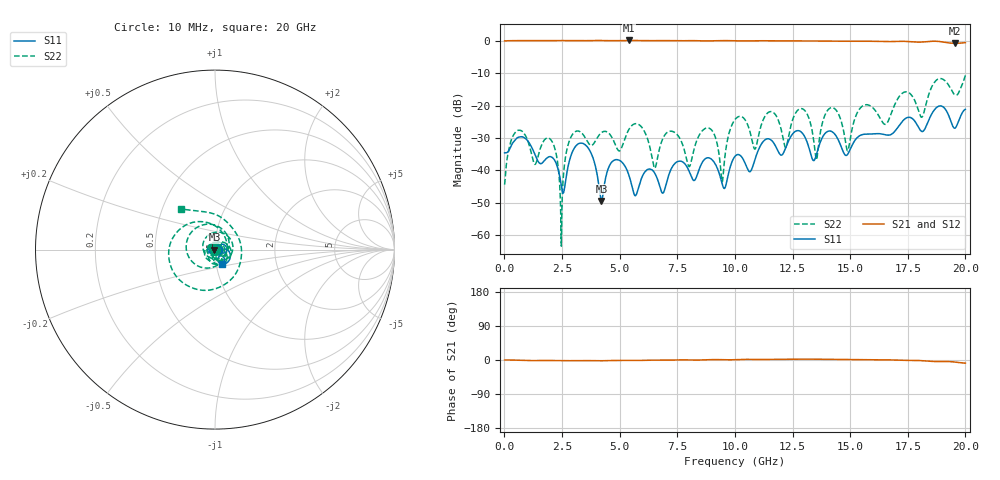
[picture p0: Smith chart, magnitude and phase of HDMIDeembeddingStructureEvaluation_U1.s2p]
! File created by SignalIntegrity v1.4.3: Signal and Power Integrity Tools
! https://github.com/Nubis-Communications/SignalIntegrity
# MHz S MA R 50.0
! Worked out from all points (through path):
!   2000 points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, 10 MHz to 20 GHz, reference 50 ohm
!   highest |S21| = 0.24 dB at 5.42 GHz (marker M1); lowest = -0.7 dB at 19.56 GHz (marker M2)
!   lowest |S11| = -49.5 dB at 4.21 GHz (marker M3), VSWR 1.01, Z = 49.7 - j0.128 ohm
!   |S11| at or under -10 dB: start of sweep to end of sweep
!   |S22| runs from -63.5 to -10.6 dB; largest |S21 - S12| = 0.013
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10  0.01865 -5.5  1.01 0.0  1.014 0.0  0.006017 -13.2
510  0.03072 -174.4  1.022 -0.6  1.024 -0.7  0.03995 -11.4
1330  0.01734 -17.7  1.021 -1.5  1.018 -1.8  0.01236 -165.9
1920  0.01613 140.4  1.024 -1.3  1.02 -1.6  0.03156 -2.0
2470  0.005832 -13.2  1.025 -1.7  1.022 -1.9  0.000668 -22.6
2800  0.01312 174.3  1.021 -1.8  1.018 -1.9  0.02735 -33.9
3350  0.02638 66.9  1.018 -1.5  1.015 -1.4  0.038 68.3
4210  0.003337 -157.4  1.026 -2.0  1.022 -1.8  0.03829 -37.9
4740  0.01419 46.7  1.019 -1.3  1.017 -1.1  0.02868 86.1
5420  0.00803 -71.1  1.028 -1.5  1.026 -1.3  0.04407 -43.8
6680  0.006641 -3.1  1.024 -0.6  1.021 -0.3  0.01803 -33.5
7300  0.01153 14.5  1.016 -0.2  1.015 0.0  0.03997 109.0
8030  0.009383 -60.5  1.022 0.1  1.022 0.1  0.01145 -27.5
8860  0.01563 -84.9  1.012 0.8  1.01 0.7  0.0452 -158.3
9450  0.006124 -118.7  1.022 0.8  1.019 0.7  0.006621 24.0
10010  0.01655 -95.8  1.015 0.8  1.012 0.9  0.06152 -161.7
12200  0.0221 -137.1  1.011 1.9  1.007 1.9  0.02258 -74.4
12730  0.04121 -177.6  1.011 2.1  1.01 2.1  0.0857 -77.4
13340  0.01564 149.5  1.005 2.2  1.005 2.0  0.043 -5.5
16670  0.03509 42.9  0.9866 0.4  0.9863 -0.3  0.06001 -31.6
19560  0.04529 -53.1  0.9266 -5.5  0.9323 -6.0  0.147 4.7
20000  0.08803 -63.6  0.9512 -8.4  0.9582 -9.0  0.2951 130.1
